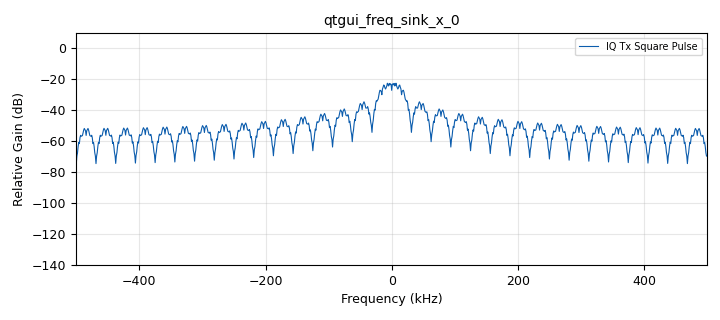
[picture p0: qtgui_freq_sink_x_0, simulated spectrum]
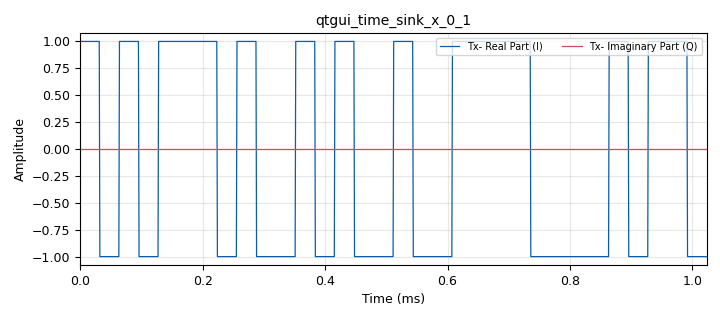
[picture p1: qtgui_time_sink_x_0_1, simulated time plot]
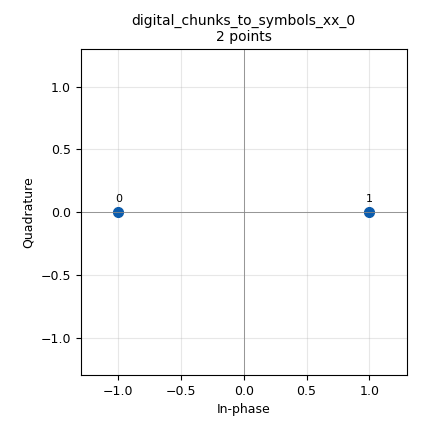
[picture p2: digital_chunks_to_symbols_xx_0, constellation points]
options:
  parameters:
    author: Alex Brisson
    generate_options: qt_gui
    id: usrp_bpsk
    output_language: python
    title: bpsk
  states: {}

blocks:
- name: center_freq
  id: variable
  parameters:
    value: 10e6
  states: {}
- name: samp_rate
  id: variable
  parameters:
    value: 1e6
  states: {}
- name: sps
  id: variable
  parameters:
    value: '32'
  states: {}
- name: analog_random_uniform_source_x_0
  id: analog_random_uniform_source_x
  parameters:
    comment: Random Integer Generator
    maximum: '2'
    minimum: '0'
    seed: '0'
    type: byte
  states: {}
- name: blocks_repeat_0
  id: blocks_repeat
  parameters:
    comment: |-
      Repeat each symbol 
      'sps' times
    interp: sps
    type: complex
  states: {}
- name: digital_chunks_to_symbols_xx_0
  id: digital_chunks_to_symbols_xx
  parameters:
    comment: |-
      Multiplies the carrier by 
      +1 or -1 (BPSK)
    dimension: '1'
    in_type: byte
    out_type: complex
    symbol_table: (-1,+1)
  states: {}
- name: qtgui_freq_sink_x_0
  id: qtgui_freq_sink_x
  parameters:
    average: '0.05'
    bw: samp_rate
    fc: '0'
    fftsize: '1024'
    grid: 'True'
    gui_hint: 0,1,1,1
    label1: 'IQ Tx Square Pulse '
    type: complex
  states: {}
- name: qtgui_freq_sink_x_1_0
  id: qtgui_freq_sink_x
  parameters:
    average: '0.05'
    bw: samp_rate
    fc: '0'
    fftsize: '1024'
    grid: 'True'
    gui_hint: 1,1,1,1
    label1: IQ Rx Spectrum
    type: complex
  states: {}
- name: qtgui_time_sink_x_0_1
  id: qtgui_time_sink_x
  parameters:
    gui_hint: 0,0,1,1
    label1: 'Tx- Real Part (I) '
    label2: Tx- Imaginary Part (Q)
    size: '1024'
    srate: samp_rate
    type: complex
  states: {}
- name: qtgui_time_sink_x_1_0
  id: qtgui_time_sink_x
  parameters:
    gui_hint: 1,0,1,1
    label1: Rx- Real Part (I)
    label2: Rx- Imaginary Part (Q)
    size: '1024'
    srate: samp_rate
    type: complex
  states: {}
- name: uhd_usrp_sink_0_0
  id: uhd_usrp_sink
  parameters:
    ant0: '"TX/RX"'
    center_freq0: center_freq
    comment: USRP Transmiter
    gain0: '0'
    samp_rate: samp_rate
    sync: none
    type: fc32
  states: {}
- name: uhd_usrp_source_0_0
  id: uhd_usrp_source
  parameters:
    ant0: '"RX2"'
    center_freq0: center_freq+100e3
    comment: USRP Receiver
    gain0: '0'
    samp_rate: samp_rate
    sync: none
    type: fc32
  states: {}

connections:
- [analog_random_uniform_source_x_0, '0', digital_chunks_to_symbols_xx_0, '0']
- [blocks_repeat_0, '0', qtgui_freq_sink_x_0, '0']
- [blocks_repeat_0, '0', qtgui_time_sink_x_0_1, '0']
- [blocks_repeat_0, '0', uhd_usrp_sink_0_0, '0']
- [digital_chunks_to_symbols_xx_0, '0', blocks_repeat_0, '0']
- [uhd_usrp_source_0_0, '0', qtgui_freq_sink_x_1_0, '0']
- [uhd_usrp_source_0_0, '0', qtgui_time_sink_x_1_0, '0']

metadata:
  file_format: 1
  grc_version: 3.10.5.1
